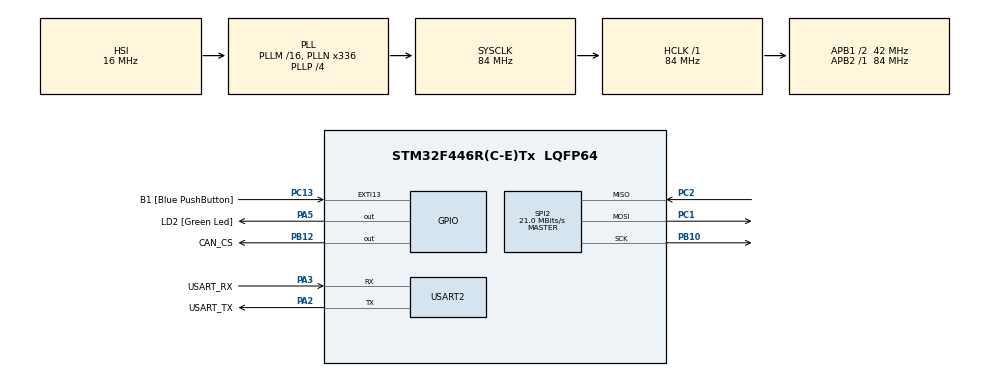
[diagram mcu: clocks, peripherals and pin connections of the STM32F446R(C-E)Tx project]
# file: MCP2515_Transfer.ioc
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Mcu.Family=STM32F4
Mcu.Name=STM32F446R(C-E)Tx
Mcu.Package=LQFP64
NVIC.PriorityGroup=NVIC_PRIORITYGROUP_0
PA13.GPIO_Label=TMS
PA13.Mode=Serial_Wire
PA13.Signal=SYS_JTMS-SWDIO
PA14.GPIO_Label=TCK
PA14.Mode=Serial_Wire
PA14.Signal=SYS_JTCK-SWCLK
PA2.GPIO_Label=USART_TX
PA2.Mode=Asynchronous
PA2.Signal=USART2_TX
PA3.GPIO_Label=USART_RX
PA3.Mode=Asynchronous
PA3.Signal=USART2_RX
PA5.GPIO_Label=LD2 [Green Led]
PA5.Signal=GPIO_Output
PB10.Mode=Full_Duplex_Master
PB10.Signal=SPI2_SCK
PB12.GPIO_Label=CAN_CS
PB12.Signal=GPIO_Output
PB3.GPIO_Label=SWO
PB3.Signal=SYS_JTDO-SWO
PC1.Mode=Full_Duplex_Master
PC1.Signal=SPI2_MOSI
PC13.GPIO_Label=B1 [Blue PushButton]
PC13.GPIO_ModeDefaultEXTI=GPIO_MODE_IT_FALLING
PC13.Signal=GPXTI13
PC14-OSC32_IN.Mode=LSE-External-Oscillator
PC14-OSC32_IN.Signal=RCC_OSC32_IN
PC15-OSC32_OUT.Mode=LSE-External-Oscillator
PC15-OSC32_OUT.Signal=RCC_OSC32_OUT
PC2.Mode=Full_Duplex_Master
PC2.Signal=SPI2_MISO
PH0-OSC_IN.Mode=HSE-External-Oscillator
PH0-OSC_IN.Signal=RCC_OSC_IN
PH1-OSC_OUT.Mode=HSE-External-Oscillator
PH1-OSC_OUT.Signal=RCC_OSC_OUT
ProjectManager.HeapSize=0x200
ProjectManager.StackSize=0x400
ProjectManager.TargetToolchain=STM32CubeIDE
RCC.48MHZClocksFreq_Value=84000000
RCC.AHBFreq_Value=84000000
RCC.APB1CLKDivider=RCC_HCLK_DIV2
RCC.APB1Freq_Value=42000000
RCC.APB1TimFreq_Value=84000000
RCC.APB2Freq_Value=84000000
RCC.APB2TimFreq_Value=84000000
RCC.CortexFreq_Value=84000000
RCC.FLatency-AdvancedSettings=FLASH_LATENCY_2
RCC.HCLKFreq_Value=84000000
RCC.HSE_VALUE=8000000
RCC.HSI_VALUE=16000000
RCC.PLLN=336
RCC.PLLP=RCC_PLLP_DIV4
RCC.SYSCLKFreq_VALUE=84000000
RCC.SYSCLKSource=RCC_SYSCLKSOURCE_PLLCLK
RCC.USBFreq_Value=168000000
RCC.VCOOutputFreq_Value=336000000
SPI2.CalculateBaudRate=21.0 MBits/s
SPI2.Direction=SPI_DIRECTION_2LINES
SPI2.Mode=SPI_MODE_MASTER
SPI2.VirtualType=VM_MASTER
USART2.VirtualMode=VM_ASYNC
board=NUCLEO-F446RE

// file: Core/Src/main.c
/* USER CODE BEGIN Header */
/**
  ******************************************************************************
  * @file           : main.c
  * @brief          : Main program body
  ******************************************************************************
  * @attention
  *
  * Copyright (c) 2026 STMicroelectronics.
  * All rights reserved.
  *
  * This software is licensed under terms that can be found in the LICENSE file
  * in the root directory of this software component.
  * If no LICENSE file comes with this software, it is provided AS-IS.
  *
  ******************************************************************************
  */
/* USER CODE END Header */
#include "main.h"
#include "can_spi.h"

/* USER CODE BEGIN PTD */
#include <stdio.h>
#include <string.h>
/* USER CODE END PTD */

SPI_HandleTypeDef hspi2;
UART_HandleTypeDef huart2;

void SystemClock_Config(void);
static void MX_GPIO_Init(void);
static void MX_USART2_UART_Init(void);
static void MX_SPI2_Init(void);

/* USER CODE BEGIN 0 */
void transfer_demo() {
	  uCAN_MSG txMsg;
	  txMsg.frame.idType = dSTANDARD_CAN_MSG_ID_2_0B;
	  txMsg.frame.id     = 0x123;
	  txMsg.frame.dlc    = 8;
	  txMsg.frame.data0 = 0x11;
	  txMsg.frame.data1 = 0x22;
	  txMsg.frame.data2 = 0x33;
	  txMsg.frame.data3 = 0x44;
	  txMsg.frame.data4 = 0x55;
	  txMsg.frame.data5 = 0x66;
	  txMsg.frame.data6 = 0x77;
	  txMsg.frame.data7 = 0x88;
	  /* USER CODE BEGIN WHILE */
	  while (1)
	  {
	    /* USER CODE END WHILE */
		  if (CANSPI_Transmit(&txMsg))
		  {
		      HAL_GPIO_TogglePin(LD2_GPIO_Port, LD2_Pin);
		      printf("Sent data\r\n");
		  }
		  else {
			  printf("Error sending data!\r\n");
		  }

		  HAL_Delay(1000);
	    /* USER CODE BEGIN 3 */
	  }
}

void unpack(uint8_t* data) {
	int16_t gx_i, gy_i, gz_i;

	memcpy(&gx_i, &data[1], 2);
	memcpy(&gy_i, &data[3], 2);
	memcpy(&gz_i, &data[5], 2);

	float gx = (float)(gx_i / 100.0f);
	float gy = (float)(gy_i / 100.0f);
	float gz = (float)(gz_i / 100.0f);

	bool flag = data[7] != 0;

	printf("gx: %.1f, gy: %.1f, gz: %.1f, status: %s\r\n", gx, gy, gz, (flag ? "True" : "False"));
}

void receive_demo() {
	uCAN_MSG rxMsg;
	while (1)
	{
	    if (CANSPI_Receive(&rxMsg))
	    {
	    	//printf("ID: 0x%03lX\r\n", rxMsg.frame.id);
	    	//printf("DLC: %d\r\n", rxMsg.frame.dlc);

	    	uint8_t *data = &rxMsg.frame.data0;
	    	/*for (int i = 0; i < rxMsg.frame.dlc; i++)
	    	{
	    	    printf("%02X ", data[i]);
	    	}
	    	printf("\r\n");*/

	        HAL_GPIO_TogglePin(LD2_GPIO_Port, LD2_Pin);
	        unpack(data);
	        HAL_Delay(1000);
	    }
	}
}
/* USER CODE END 0 */

int main(void)
{

  /* MCU Configuration--------------------------------------------------------*/

  /* Reset of all peripherals, Initializes the Flash interface and the Systick. */
  HAL_Init();

  /* Configure the system clock */
  SystemClock_Config();

  /* Initialize all configured peripherals */
  MX_GPIO_Init();
  MX_USART2_UART_Init();
  MX_SPI2_Init();
  /* USER CODE BEGIN 2 */

  HAL_Delay(3000);
  /* USER CODE END 2 */
  if (!CANSPI_Initialize())
  {
      printf("Cannot Initialize CAN SPI!\r\n");
      return -1;
  }
  else {
	  printf("Initialized CAN SPI!\r\n");
  }

  receive_demo();
  /* USER CODE END 3 */
}

void SystemClock_Config(void)
{
  RCC_OscInitTypeDef RCC_OscInitStruct = {0};
  RCC_ClkInitTypeDef RCC_ClkInitStruct = {0};

  /** Configure the main internal regulator output voltage
  */
  __HAL_RCC_PWR_CLK_ENABLE();
  __HAL_PWR_VOLTAGESCALING_CONFIG(PWR_REGULATOR_VOLTAGE_SCALE3);

  /** Initializes the RCC Oscillators according to the specified parameters
  * in the RCC_OscInitTypeDef structure.
  */
  RCC_OscInitStruct.OscillatorType = RCC_OSCILLATORTYPE_HSI;
  RCC_OscInitStruct.HSIState = RCC_HSI_ON;
  RCC_OscInitStruct.HSICalibrationValue = RCC_HSICALIBRATION_DEFAULT;
  RCC_OscInitStruct.PLL.PLLState = RCC_PLL_ON;
  RCC_OscInitStruct.PLL.PLLSource = RCC_PLLSOURCE_HSI;
  RCC_OscInitStruct.PLL.PLLM = 16;
  RCC_OscInitStruct.PLL.PLLN = 336;
  RCC_OscInitStruct.PLL.PLLP = RCC_PLLP_DIV4;
  RCC_OscInitStruct.PLL.PLLQ = 2;
  RCC_OscInitStruct.PLL.PLLR = 2;
  if (HAL_RCC_OscConfig(&RCC_OscInitStruct) != HAL_OK)
  {
    Error_Handler();
  }

  /** Initializes the CPU, AHB and APB buses clocks
  */
  RCC_ClkInitStruct.ClockType = RCC_CLOCKTYPE_HCLK|RCC_CLOCKTYPE_SYSCLK
                              |RCC_CLOCKTYPE_PCLK1|RCC_CLOCKTYPE_PCLK2;
  RCC_ClkInitStruct.SYSCLKSource = RCC_SYSCLKSOURCE_PLLCLK;
  RCC_ClkInitStruct.AHBCLKDivider = RCC_SYSCLK_DIV1;
  RCC_ClkInitStruct.APB1CLKDivider = RCC_HCLK_DIV2;
  RCC_ClkInitStruct.APB2CLKDivider = RCC_HCLK_DIV1;

  if (HAL_RCC_ClockConfig(&RCC_ClkInitStruct, FLASH_LATENCY_2) != HAL_OK)
  {
    Error_Handler();
  }
}

static void MX_SPI2_Init(void)
{

  /* SPI2 parameter configuration*/
  hspi2.Instance = SPI2;
  hspi2.Init.Mode = SPI_MODE_MASTER;
  hspi2.Init.Direction = SPI_DIRECTION_2LINES;
  hspi2.Init.DataSize = SPI_DATASIZE_8BIT;
  hspi2.Init.CLKPolarity = SPI_POLARITY_LOW;
  hspi2.Init.CLKPhase = SPI_PHASE_1EDGE;
  hspi2.Init.NSS = SPI_NSS_SOFT;
  hspi2.Init.BaudRatePrescaler = SPI_BAUDRATEPRESCALER_2;
  hspi2.Init.FirstBit = SPI_FIRSTBIT_MSB;
  hspi2.Init.TIMode = SPI_TIMODE_DISABLE;
  hspi2.Init.CRCCalculation = SPI_CRCCALCULATION_DISABLE;
  hspi2.Init.CRCPolynomial = 10;
  if (HAL_SPI_Init(&hspi2) != HAL_OK)
  {
    Error_Handler();
  }

}

static void MX_USART2_UART_Init(void)
{

  huart2.Instance = USART2;
  huart2.Init.BaudRate = 115200;
  huart2.Init.WordLength = UART_WORDLENGTH_8B;
  huart2.Init.StopBits = UART_STOPBITS_1;
  huart2.Init.Parity = UART_PARITY_NONE;
  huart2.Init.Mode = UART_MODE_TX_RX;
  huart2.Init.HwFlowCtl = UART_HWCONTROL_NONE;
  huart2.Init.OverSampling = UART_OVERSAMPLING_16;
  if (HAL_UART_Init(&huart2) != HAL_OK)
  {
    Error_Handler();
  }

}

static void MX_GPIO_Init(void)
{
  GPIO_InitTypeDef GPIO_InitStruct = {0};

  /* GPIO Ports Clock Enable */
  __HAL_RCC_GPIOC_CLK_ENABLE();
  __HAL_RCC_GPIOH_CLK_ENABLE();
  __HAL_RCC_GPIOA_CLK_ENABLE();
  __HAL_RCC_GPIOB_CLK_ENABLE();

  /*Configure GPIO pin Output Level */
  HAL_GPIO_WritePin(LD2_GPIO_Port, LD2_Pin, GPIO_PIN_RESET);

  /*Configure GPIO pin Output Level */
  HAL_GPIO_WritePin(CAN_CS_GPIO_Port, CAN_CS_Pin, GPIO_PIN_RESET);

  /*Configure GPIO pin : B1_Pin */
  GPIO_InitStruct.Pin = B1_Pin;
  GPIO_InitStruct.Mode = GPIO_MODE_IT_FALLING;
  GPIO_InitStruct.Pull = GPIO_NOPULL;
  HAL_GPIO_Init(B1_GPIO_Port, &GPIO_InitStruct);

  /*Configure GPIO pin : LD2_Pin */
  GPIO_InitStruct.Pin = LD2_Pin;
  GPIO_InitStruct.Mode = GPIO_MODE_OUTPUT_PP;
  GPIO_InitStruct.Pull = GPIO_NOPULL;
  GPIO_InitStruct.Speed = GPIO_SPEED_FREQ_LOW;
  HAL_GPIO_Init(LD2_GPIO_Port, &GPIO_InitStruct);

  /*Configure GPIO pin : CAN_CS_Pin */
  GPIO_InitStruct.Pin = CAN_CS_Pin;
  GPIO_InitStruct.Mode = GPIO_MODE_OUTPUT_PP;
  GPIO_InitStruct.Pull = GPIO_NOPULL;
  GPIO_InitStruct.Speed = GPIO_SPEED_FREQ_LOW;
  HAL_GPIO_Init(CAN_CS_GPIO_Port, &GPIO_InitStruct);

}

void Error_Handler(void)
{
  __disable_irq();
  while (1)
  {
  }
}
